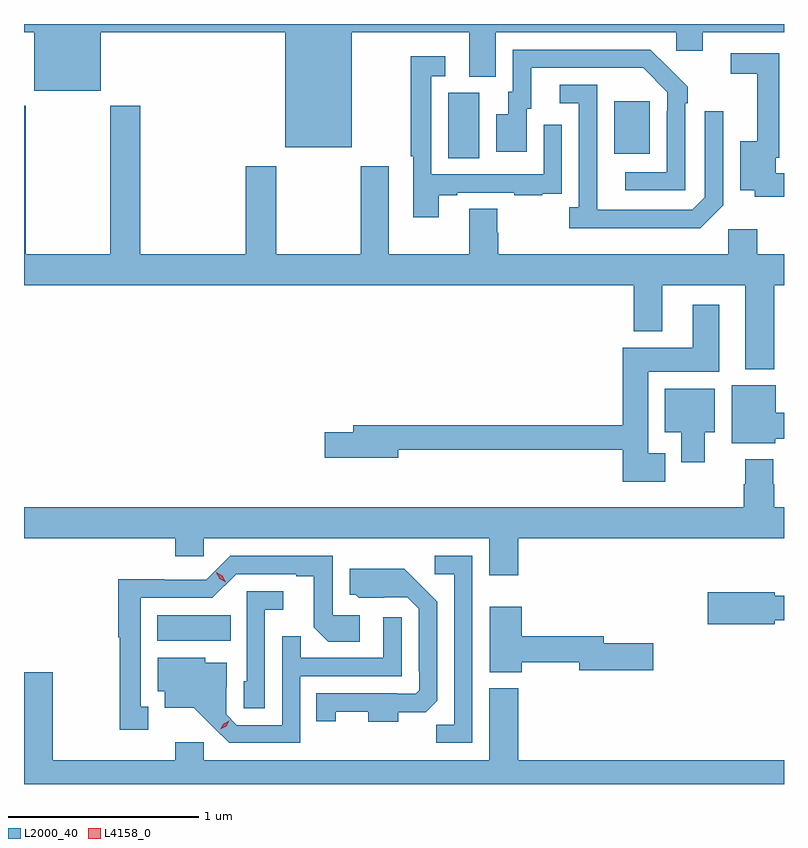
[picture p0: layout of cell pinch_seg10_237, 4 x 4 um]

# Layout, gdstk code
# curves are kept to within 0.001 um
import gdstk
lib = gdstk.Library(unit=1e-6, precision=1e-09)
def R(c, l, rs):  # rectangles x0, y0, x1, y1
    for r in rs: c.add(gdstk.rectangle(r[:2], r[2:], *l))
def P(c, l, *ps):  # polygons
    for p in ps: c.add(gdstk.Polygon(p, *l))
L2000_40 = (2000, 40)
L4158_0 = (4158, 0)

pinch_seg10_237 = lib.new_cell('pinch_seg10_237')
R(pinch_seg10_237, L2000_40, [(610.673,1301.108,611.06,1301.242), (612.206,1303.648,612.37,1303.992), (613.079,1303.673,613.267,1303.948)])
P(pinch_seg10_237, L2000_40, [(609.973,1304.312),(610.028,1304.312),(610.028,1304.003),(610.378,1304.003),(610.378,1304.312),(611.348,1304.312),(611.348,1303.706),(611.698,1303.706),(611.698,1304.312),(612.317,1304.312),(612.317,1304.077),(612.457,1304.077),(612.457,1304.312),(613.407,1304.312),(613.407,1304.214),(613.546,1304.214),(613.546,1304.312),(613.973,1304.312),(613.973,1304.355),(609.973,1304.355)],
  [(613.452,1303.937),(613.467,1303.937),(613.467,1304.025),(613.27,1304.22),(612.546,1304.22),(612.546,1303.998),(612.521,1303.998),(612.521,1303.879),(612.458,1303.879),(612.458,1303.683),(612.619,1303.683),(612.619,1303.908),(612.643,1303.908),(612.643,1304.124),(613.231,1304.124),(613.359,1303.995),(613.359,1303.895),(613.356,1303.895),(613.356,1303.575),(613.137,1303.575),(613.137,1303.479),(613.452,1303.479)],
  [(613.973,1303.57),(613.93,1303.57),(613.93,1303.651),(613.949,1303.651),(613.949,1304.202),(613.692,1304.202),(613.692,1304.094),(613.832,1304.094),(613.832,1303.738),(613.742,1303.738),(613.742,1303.481),(613.818,1303.481),(613.818,1303.446),(613.973,1303.446)],
  [(612.157,1303.455),(612.253,1303.455),(612.253,1303.467),(612.553,1303.467),(612.553,1303.455),(612.701,1303.455),(612.701,1303.461),(612.803,1303.461),(612.803,1303.57),(612.804,1303.57),(612.804,1303.825),(612.708,1303.825),(612.708,1303.563),(612.117,1303.563),(612.117,1304.079),(612.19,1304.079),(612.19,1304.185),(612.009,1304.185),(612.009,1303.66),(612.021,1303.66),(612.021,1303.338),(612.157,1303.338)],
  [(613.653,1303.401),(613.653,1303.897),(613.557,1303.897),(613.557,1303.443),(613.491,1303.377),(612.991,1303.377),(612.99,1304.034),(612.792,1304.034),(612.792,1303.938),(612.894,1303.938),(612.894,1303.39),(612.843,1303.39),(612.843,1303.28),(613.532,1303.28)],
  [(613.922,1302.98),(613.973,1302.98),(613.973,1303.144),(613.832,1303.144),(613.832,1303.276),(613.68,1303.276),(613.68,1303.144),(612.47,1303.144),(612.47,1303.257),(612.465,1303.257),(612.465,1303.382),(612.317,1303.382),(612.317,1303.144),(611.893,1303.144),(611.893,1303.606),(611.746,1303.606),(611.746,1303.144),(611.301,1303.144),(611.301,1303.606),(611.141,1303.606),(611.141,1303.144),(610.586,1303.144),(610.586,1303.924),(610.426,1303.924),(610.426,1303.144),(609.981,1303.144),(609.981,1303.924),(609.973,1303.924),(609.973,1302.98),(613.181,1302.98),(613.181,1302.737),(613.333,1302.737),(613.333,1302.98),(613.769,1302.98),(613.769,1302.539),(613.922,1302.539)],
  [(613.348,1302.097),(613.258,1302.097),(613.258,1302.524),(613.633,1302.524),(613.633,1302.877),(613.493,1302.877),(613.493,1302.652),(613.124,1302.652),(613.124,1302.242),(611.705,1302.242),(611.705,1302.206),(611.556,1302.206),(611.556,1302.071),(611.944,1302.071),(611.944,1302.114),(613.124,1302.114),(613.124,1301.945),(613.348,1301.945)],
  [(613.926,1302.173),(613.973,1302.173),(613.973,1302.308),(613.93,1302.308),(613.93,1302.454),(613.697,1302.454),(613.697,1302.149),(613.926,1302.149)],
  [(613.555,1302.206),(613.609,1302.206),(613.609,1302.436),(613.346,1302.436),(613.346,1302.206),(613.433,1302.206),(613.433,1302.048),(613.555,1302.048)],
  [(613.917,1301.933),(613.917,1302.064),(613.769,1302.064),(613.769,1301.933),(613.762,1301.933),(613.762,1301.812),(609.973,1301.812),(609.973,1301.648),(610.769,1301.648),(610.769,1301.555),(610.92,1301.555),(610.92,1301.648),(612.422,1301.648),(612.422,1301.454),(612.575,1301.454),(612.575,1301.648),(613.973,1301.648),(613.973,1301.812),(613.922,1301.812),(613.922,1301.933)],
  [(610.627,1300.761),(610.588,1300.761),(610.588,1301.334),(610.965,1301.334),(611.091,1301.46),(611.405,1301.46),(611.405,1301.448),(611.499,1301.448),(611.499,1301.18),(611.575,1301.104),(611.74,1301.104),(611.74,1301.244),(611.598,1301.244),(611.598,1301.556),(611.058,1301.556),(610.932,1301.43),(610.71,1301.43),(610.71,1301.432),(610.47,1301.432),(610.47,1301.127),(610.477,1301.127),(610.477,1300.641),(610.627,1300.641)],
  [(612.333,1301.556),(612.135,1301.556),(612.135,1301.46),(612.237,1301.46),(612.237,1300.667),(612.142,1300.667),(612.142,1300.572),(612.333,1300.572)],
  [(611.944,1300.733),(612.088,1300.733),(612.147,1300.792),(612.147,1301.314),(611.975,1301.488),(611.687,1301.488),(611.687,1301.352),(611.718,1301.352),(611.734,1301.336),(611.991,1301.337),(612.051,1301.277),(612.051,1300.948),(612.054,1300.948),(612.054,1300.848),(612.036,1300.83),(611.936,1300.83),(611.936,1300.833),(611.512,1300.833),(611.512,1300.686),(611.613,1300.686),(611.613,1300.735),(611.786,1300.735),(611.786,1300.682),(611.944,1300.682)],
  [(611.241,1301.273),(611.338,1301.273),(611.338,1301.37),(611.145,1301.37),(611.145,1300.896),(611.13,1300.896),(611.13,1300.753),(611.241,1300.753)],
  [(613.924,1301.218),(613.973,1301.218),(613.973,1301.347),(613.924,1301.347),(613.924,1301.365),(613.572,1301.365),(613.572,1301.195),(613.924,1301.195)],
  [(612.592,1300.996),(612.896,1300.996),(612.896,1300.954),(613.285,1300.954),(613.285,1301.096),(613.024,1301.096),(613.024,1301.132),(612.592,1301.132),(612.592,1301.287),(612.425,1301.287),(612.425,1300.943),(612.592,1300.943)],
  [(611.427,1300.923),(611.961,1300.923),(611.961,1301.233),(611.865,1301.233),(611.865,1301.019),(611.429,1301.019),(611.429,1301.132),(611.331,1301.132),(611.331,1300.665),(611.094,1300.665),(611.037,1300.722),(611.037,1300.864),(611.041,1300.864),(611.041,1300.993),(610.926,1300.993),(610.926,1301.02),(610.676,1301.02),(610.676,1300.844),(610.715,1300.844),(610.715,1300.757),(610.867,1300.757),(611.054,1300.572),(611.427,1300.572)],
  [(613.973,1300.48),(612.575,1300.48),(612.575,1300.858),(612.422,1300.858),(612.422,1300.48),(610.92,1300.48),(610.92,1300.576),(610.769,1300.576),(610.769,1300.48),(610.125,1300.48),(610.125,1300.942),(609.973,1300.942),(609.973,1300.355),(613.973,1300.355)])
P(pinch_seg10_237, L4158_0, [(611.007,1300.643),(611.007,1300.643),(611.024,1300.673),(611.054,1300.688),(611.054,1300.688),(611.054,1300.688),(611.038,1300.658),(611.007,1300.643)],
  [(611.035,1301.418),(611.003,1301.436),(610.985,1301.468),(610.985,1301.469),(610.986,1301.469),(611.017,1301.45),(611.035,1301.418),(611.035,1301.418)])

lib.write_gds('pinch_seg10_237.gds')
